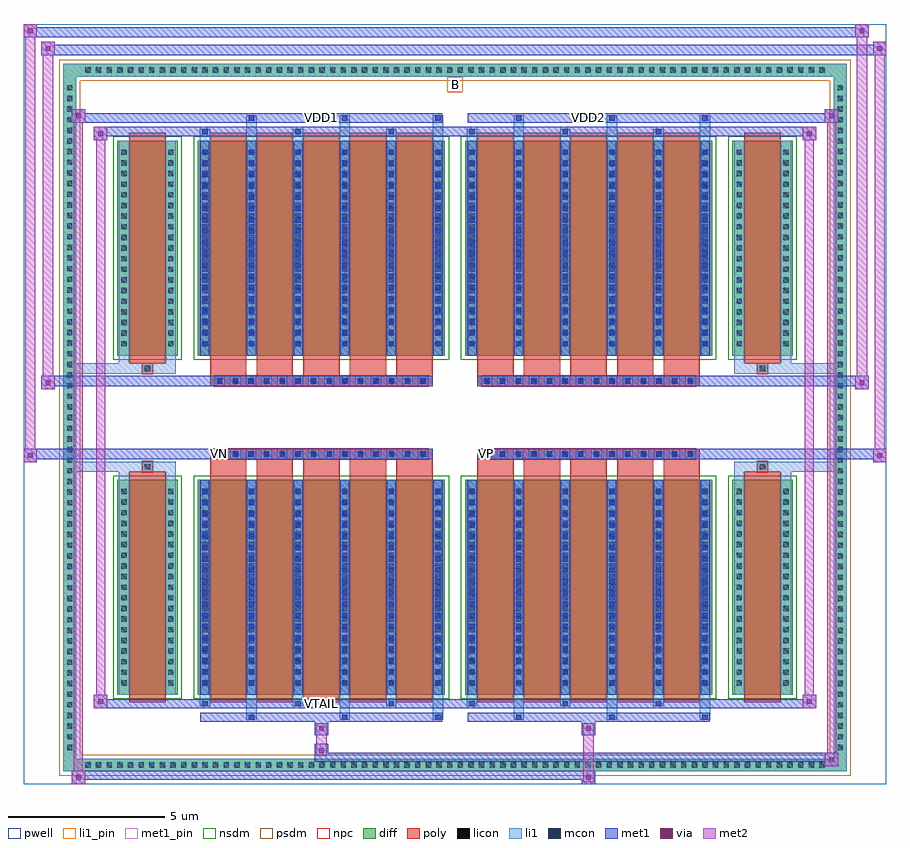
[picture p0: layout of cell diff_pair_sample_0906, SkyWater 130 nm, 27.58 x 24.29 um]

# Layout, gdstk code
import gdstk
lib = gdstk.Library(unit=1e-6, precision=5e-09)
def R(c, l, rs):  # rectangles x0, y0, x1, y1
    for r in rs: c.add(gdstk.rectangle(r[:2], r[2:], *l))
def A(c, l, x, y, w, h, nx, ny, dx, dy):  # array of equal rectangles
    R(c, l, [(x+i*dx, y+j*dy, x+i*dx+w, y+j*dy+h) for i in range(nx) for j in range(ny)])
def P(c, l, *ps):  # polygons
    for p in ps: c.add(gdstk.Polygon(p, *l))
pwell = (64, 44)
diff = (65, 20)
poly = (66, 20)
licon = (66, 44)
li1_pin = (67, 16)
li1 = (67, 20)
mcon = (67, 44)
met1_pin = (68, 16)
met1 = (68, 20)
via = (68, 44)
met2 = (69, 20)
nsdm = (93, 44)
psdm = (94, 20)
npc = (95, 20)

diff_pair_sample_0906 = lib.new_cell('diff_pair_sample_0906')
R(diff_pair_sample_0906, pwell, [(-13.79,-11.71,13.79,12.58), (-11.11,-9.9,-0.01,-0.8), (0.01,-9.9,11.11,-0.8), (-11.11,0.8,-0.01,9.9), (0.01,0.8,11.11,9.9)])
A(diff_pair_sample_0906, diff, -11.935, -11.31, 0.41, 0.41, 70, 2, 0.34, 22.21)
A(diff_pair_sample_0906, diff, -12.52, -10.745, 0.41, 0.41, 1, 63, 0, 0.34)
A(diff_pair_sample_0906, diff, 12.11, -10.745, 0.41, 0.41, 1, 63, 0, 0.34)
R(diff_pair_sample_0906, diff, [(-11.935,-11.31,11.935,-10.9), (-12.52,-10.745,-12.11,10.745), (12.11,-10.745,12.52,10.745), (-10.8,-8.855,-8.86,-1.985), (-8.22,-8.855,-0.32,-1.985), (0.32,-8.855,8.22,-1.985), (8.86,-8.855,10.8,-1.985), (-10.8,1.985,-8.86,8.855), (-8.22,1.985,-0.32,8.855), (0.32,1.985,8.22,8.855), (8.86,1.985,10.8,8.855), (-11.935,10.9,11.935,11.31)])
P(diff_pair_sample_0906, diff, [(12.52,11.31),(-12.52,11.31),(-12.52,-10.9),(-12.11,-10.9),(-12.11,10.9),(12.11,10.9),(12.11,-10.9),(-12.11,-10.9),(-12.52,-10.9),(-12.52,-11.31),(12.52,-11.31)])
A(diff_pair_sample_0906, poly, -7.83, -9.105, 1.16, 7.37, 5, 2, 1.49, 10.84)
A(diff_pair_sample_0906, poly, 0.71, -9.105, 1.16, 7.37, 5, 2, 1.49, 10.84)
A(diff_pair_sample_0906, poly, -7.83, -1.735, 1.16, 0.405, 5, 2, 1.49, 3.065)
A(diff_pair_sample_0906, poly, 0.71, -1.735, 1.16, 0.405, 5, 2, 1.49, 3.065)
A(diff_pair_sample_0906, poly, -7.685, -1.33, 0.33, 0.33, 14, 2, 0.5, 2.33)
A(diff_pair_sample_0906, poly, 0.855, -1.33, 0.33, 0.33, 14, 2, 0.5, 2.33)
R(diff_pair_sample_0906, poly, [(-10.41,-9.105,-9.25,-1.735), (9.25,-9.105,10.41,-1.735), (-9.995,-1.735,-9.665,-1.405), (-9.995,-1.735,-9.665,-1.405), (9.665,-1.735,9.995,-1.405), (9.665,-1.735,9.995,-1.405), (-7.83,-1.33,-0.71,-1), (0.71,-1.33,7.83,-1), (-7.83,1,-0.71,1.33), (0.71,1,7.83,1.33), (-9.995,1.405,-9.665,1.735), (-9.995,1.405,-9.665,1.735), (9.665,1.405,9.995,1.735), (9.665,1.405,9.995,1.735), (-10.41,1.735,-9.25,9.105), (9.25,1.735,10.41,9.105)])
A(diff_pair_sample_0906, licon, -11.815, -11.19, 0.17, 0.17, 70, 2, 0.34, 22.21)
A(diff_pair_sample_0906, licon, -12.4, -10.625, 0.17, 0.17, 1, 63, 0, 0.34)
A(diff_pair_sample_0906, licon, 12.23, -10.625, 0.17, 0.17, 1, 63, 0, 0.34)
A(diff_pair_sample_0906, licon, -10.66, -8.565, 0.17, 0.17, 1, 19, 0, 0.34)
A(diff_pair_sample_0906, licon, -9.17, -8.565, 0.17, 0.17, 1, 19, 0, 0.34)
A(diff_pair_sample_0906, licon, -8.08, -8.565, 0.17, 0.17, 6, 19, 1.49, 0.34)
A(diff_pair_sample_0906, licon, 0.46, -8.565, 0.17, 0.17, 6, 19, 1.49, 0.34)
A(diff_pair_sample_0906, licon, 9, -8.565, 0.17, 0.17, 1, 19, 0, 0.34)
A(diff_pair_sample_0906, licon, 10.49, -8.565, 0.17, 0.17, 1, 19, 0, 0.34)
A(diff_pair_sample_0906, licon, -7.605, -1.25, 0.17, 0.17, 14, 2, 0.5, 2.33)
A(diff_pair_sample_0906, licon, 0.935, -1.25, 0.17, 0.17, 14, 2, 0.5, 2.33)
A(diff_pair_sample_0906, licon, -10.66, 2.275, 0.17, 0.17, 1, 19, 0, 0.34)
A(diff_pair_sample_0906, licon, -9.17, 2.275, 0.17, 0.17, 1, 19, 0, 0.34)
A(diff_pair_sample_0906, licon, -8.08, 2.275, 0.17, 0.17, 6, 19, 1.49, 0.34)
A(diff_pair_sample_0906, licon, 0.46, 2.275, 0.17, 0.17, 6, 19, 1.49, 0.34)
A(diff_pair_sample_0906, licon, 9, 2.275, 0.17, 0.17, 1, 19, 0, 0.34)
A(diff_pair_sample_0906, licon, 10.49, 2.275, 0.17, 0.17, 1, 19, 0, 0.34)
R(diff_pair_sample_0906, licon, [(-9.915,-1.655,-9.745,-1.485), (9.745,-1.655,9.915,-1.485), (-9.915,1.485,-9.745,1.655), (9.745,1.485,9.915,1.655)])
R(diff_pair_sample_0906, li1_pin, [(-0.25,10.4,0.25,10.9)])
A(diff_pair_sample_0906, li1, -11.895, -11.27, 0.33, 0.33, 70, 2, 0.34, 22.21)
A(diff_pair_sample_0906, li1, -12.48, -10.705, 0.33, 0.33, 1, 63, 0, 0.34)
A(diff_pair_sample_0906, li1, 12.15, -10.705, 0.33, 0.33, 1, 63, 0, 0.34)
A(diff_pair_sample_0906, li1, -6.67, -9.66, 0.33, 0.805, 3, 2, 2.98, 18.515)
A(diff_pair_sample_0906, li1, -6.59, -9.66, 0.17, 0.17, 3, 2, 2.98, 19.15)
A(diff_pair_sample_0906, li1, 1.87, -9.66, 0.33, 0.805, 3, 2, 2.98, 18.515)
A(diff_pair_sample_0906, li1, 1.95, -9.66, 0.17, 0.17, 3, 2, 2.98, 19.15)
A(diff_pair_sample_0906, li1, -8.16, -9.23, 0.33, 0.375, 3, 2, 2.98, 18.085)
A(diff_pair_sample_0906, li1, -8.08, -9.23, 0.17, 0.17, 3, 2, 2.98, 18.29)
A(diff_pair_sample_0906, li1, 0.38, -9.23, 0.33, 0.375, 3, 2, 2.98, 18.085)
A(diff_pair_sample_0906, li1, 0.46, -9.23, 0.17, 0.17, 3, 2, 2.98, 18.29)
A(diff_pair_sample_0906, li1, -8.16, -8.855, 0.33, 6.87, 6, 2, 1.49, 10.84)
A(diff_pair_sample_0906, li1, 0.38, -8.855, 0.33, 6.87, 6, 2, 1.49, 10.84)
A(diff_pair_sample_0906, li1, -10.74, -8.645, 0.33, 0.33, 1, 19, 0, 0.34)
A(diff_pair_sample_0906, li1, -9.25, -8.645, 0.33, 0.33, 1, 19, 0, 0.34)
A(diff_pair_sample_0906, li1, -8.16, -8.645, 0.33, 0.33, 6, 19, 1.49, 0.34)
A(diff_pair_sample_0906, li1, 0.38, -8.645, 0.33, 0.33, 6, 19, 1.49, 0.34)
A(diff_pair_sample_0906, li1, 8.92, -8.645, 0.33, 0.33, 1, 19, 0, 0.34)
A(diff_pair_sample_0906, li1, 10.41, -8.645, 0.33, 0.33, 1, 19, 0, 0.34)
A(diff_pair_sample_0906, li1, -8.08, -8.565, 0.17, 0.17, 6, 18, 1.49, 0.36)
A(diff_pair_sample_0906, li1, -8.08, -8.565, 0.17, 6.29, 6, 2, 1.49, 10.84)
A(diff_pair_sample_0906, li1, 0.46, -8.565, 0.17, 0.17, 6, 18, 1.49, 0.36)
A(diff_pair_sample_0906, li1, 0.46, -8.565, 0.17, 6.29, 6, 2, 1.49, 10.84)
A(diff_pair_sample_0906, li1, -7.685, -1.33, 0.33, 0.33, 14, 2, 0.5, 2.33)
A(diff_pair_sample_0906, li1, 0.855, -1.33, 0.33, 0.33, 14, 2, 0.5, 2.33)
A(diff_pair_sample_0906, li1, -10.74, 2.195, 0.33, 0.33, 1, 19, 0, 0.34)
A(diff_pair_sample_0906, li1, -9.25, 2.195, 0.33, 0.33, 1, 19, 0, 0.34)
A(diff_pair_sample_0906, li1, -8.16, 2.195, 0.33, 0.33, 6, 19, 1.49, 0.34)
A(diff_pair_sample_0906, li1, 0.38, 2.195, 0.33, 0.33, 6, 19, 1.49, 0.34)
A(diff_pair_sample_0906, li1, 8.92, 2.195, 0.33, 0.33, 1, 19, 0, 0.34)
A(diff_pair_sample_0906, li1, 10.41, 2.195, 0.33, 0.33, 1, 19, 0, 0.34)
A(diff_pair_sample_0906, li1, -8.08, 2.275, 0.17, 0.17, 6, 18, 1.49, 0.36)
A(diff_pair_sample_0906, li1, 0.46, 2.275, 0.17, 0.17, 6, 18, 1.49, 0.36)
R(diff_pair_sample_0906, li1, [(-12.52,-11.31,-12.11,-10.9), (-12.52,-11.31,-12.11,-10.9), (-12.11,-11.31,12.11,-10.9), (12.11,-11.31,12.52,-10.9), (12.11,-11.31,12.52,-10.9), (-12.52,-10.9,-12.11,10.9), (12.11,-10.9,12.52,10.9), (-10.74,-8.855,-10.41,-1.985), (-9.25,-8.855,-8.92,-1.985), (8.92,-8.855,9.25,-1.985), (10.41,-8.855,10.74,-1.985), (-10.74,-1.985,-10.41,-1.405), (-9.25,-1.985,-8.92,-1.405), (8.92,-1.985,9.25,-1.405), (10.41,-1.985,10.74,-1.405), (-12.52,-1.735,-9.995,-1.405), (-10.74,-1.735,-9.995,-1.405), (-9.995,-1.735,-9.665,-1.405), (-9.665,-1.735,-8.92,-1.405), (8.92,-1.735,9.665,-1.405), (9.665,-1.735,9.995,-1.405), (9.665,-1.735,12.52,-1.405), (9.995,-1.735,10.74,-1.405), (-12.52,1.405,-9.995,1.735), (-10.74,1.405,-9.995,1.735), (-10.74,1.405,-10.41,1.985), (-9.995,1.405,-9.665,1.735), (-9.665,1.405,-8.92,1.735), (-9.25,1.405,-8.92,1.985), (8.92,1.405,9.665,1.735), (8.92,1.405,9.25,1.985), (9.665,1.405,9.995,1.735), (9.665,1.405,12.52,1.735), (9.995,1.405,10.74,1.735), (10.41,1.405,10.74,1.985), (-10.74,1.985,-10.41,8.855), (-9.25,1.985,-8.92,8.855), (8.92,1.985,9.25,8.855), (10.41,1.985,10.74,8.855), (-12.52,10.9,-12.11,11.31), (-12.52,10.9,-12.11,11.31), (-12.11,10.9,12.11,11.31), (12.11,10.9,12.52,11.31), (12.11,10.9,12.52,11.31)])
A(diff_pair_sample_0906, mcon, -6.59, -9.66, 0.17, 0.17, 3, 2, 2.98, 19.15)
A(diff_pair_sample_0906, mcon, 1.95, -9.66, 0.17, 0.17, 3, 2, 2.98, 19.15)
A(diff_pair_sample_0906, mcon, -8.08, -9.23, 0.17, 0.17, 3, 2, 2.98, 18.29)
A(diff_pair_sample_0906, mcon, 0.46, -9.23, 0.17, 0.17, 3, 2, 2.98, 18.29)
A(diff_pair_sample_0906, mcon, -8.08, -8.565, 0.17, 0.17, 6, 18, 1.49, 0.36)
A(diff_pair_sample_0906, mcon, 0.46, -8.565, 0.17, 0.17, 6, 18, 1.49, 0.36)
A(diff_pair_sample_0906, mcon, -7.605, -1.25, 0.17, 0.17, 14, 2, 0.5, 2.33)
A(diff_pair_sample_0906, mcon, 0.935, -1.25, 0.17, 0.17, 14, 2, 0.5, 2.33)
A(diff_pair_sample_0906, mcon, -8.08, 2.275, 0.17, 0.17, 6, 18, 1.49, 0.36)
A(diff_pair_sample_0906, mcon, 0.46, 2.275, 0.17, 0.17, 6, 18, 1.49, 0.36)
R(diff_pair_sample_0906, met1_pin, [(-4.405,-9.27,-4.135,-9), (-7.655,-1.29,-7.385,-1.02), (0.885,-1.29,1.155,-1.02), (-4.405,9.45,-4.135,9.72), (4.135,9.45,4.405,9.72)])
A(diff_pair_sample_0906, met1, -6.65, -9.72, 0.29, 0.29, 3, 2, 2.98, 19.15)
A(diff_pair_sample_0906, met1, 1.89, -9.72, 0.29, 0.29, 3, 2, 2.98, 19.15)
A(diff_pair_sample_0906, met1, -8.14, -9.29, 0.29, 0.29, 3, 2, 2.98, 18.29)
A(diff_pair_sample_0906, met1, 0.4, -9.29, 0.29, 0.29, 3, 2, 2.98, 18.29)
A(diff_pair_sample_0906, met1, -8.14, -8.855, 0.29, 6.87, 6, 2, 1.49, 10.84)
A(diff_pair_sample_0906, met1, 0.4, -8.855, 0.29, 6.87, 6, 2, 1.49, 10.84)
A(diff_pair_sample_0906, met1, -8.14, -8.625, 0.29, 0.29, 6, 18, 1.49, 0.36)
A(diff_pair_sample_0906, met1, 0.4, -8.625, 0.29, 0.29, 6, 18, 1.49, 0.36)
A(diff_pair_sample_0906, met1, -7.665, -1.31, 0.29, 0.29, 14, 2, 0.5, 2.33)
A(diff_pair_sample_0906, met1, 0.875, -1.31, 0.29, 0.29, 14, 2, 0.5, 2.33)
A(diff_pair_sample_0906, met1, -8.14, 2.215, 0.29, 0.29, 6, 18, 1.49, 0.36)
A(diff_pair_sample_0906, met1, 0.4, 2.215, 0.29, 0.29, 6, 18, 1.49, 0.36)
R(diff_pair_sample_0906, met1, [(-12.25,-11.71,-11.82,-11.28), (4.055,-11.71,4.485,-11.28), (-12.25,-11.57,4.485,-11.28), (11.82,-11.14,12.25,-10.71), (-4.485,-11,12.25,-10.71), (-4.485,-10.86,-4.055,-10.43), (-4.485,-10.15,-4.055,-9.72), (4.055,-10.15,4.485,-9.72), (-8.14,-9.72,-0.4,-9.43), (0.4,-9.72,8.14,-9.43), (-11.54,-9.29,-11.11,-8.86), (-11.54,-9.29,-8.14,-9), (-8.14,-9.29,-0.4,-9), (-0.4,-9.29,0.4,-9), (0.4,-9.29,8.14,-9), (8.14,-9.29,11.54,-9), (11.11,-9.29,11.54,-8.86), (-13.79,-1.43,-13.36,-1), (13.36,-1.43,13.79,-1), (-13.79,-1.33,-0.71,-1), (-7.83,-1.33,-0.71,-1), (0.71,-1.33,7.83,-1), (0.71,-1.33,13.79,-1), (-13.22,0.9,-12.79,1.33), (12.79,0.9,13.22,1.33), (-13.22,1,-7.83,1.33), (-7.83,1,-0.71,1.33), (0.71,1,7.83,1.33), (7.83,1,13.22,1.33), (-11.54,8.86,-11.11,9.29), (11.11,8.86,11.54,9.29), (-11.54,9,-8.14,9.29), (-8.14,9,-0.4,9.29), (-0.4,9,0.4,9.29), (0.4,9,8.14,9.29), (8.14,9,11.54,9.29), (-12.25,9.43,-11.82,9.86), (-12.25,9.43,-8.14,9.72), (-8.14,9.43,-0.4,9.72), (0.4,9.43,8.14,9.72), (8.14,9.43,12.25,9.72), (11.82,9.43,12.25,9.86), (-13.22,11.58,-12.79,12.01), (-13.22,11.58,-11.11,11.91), (-11.11,11.58,11.11,11.91), (11.11,11.58,13.79,11.91), (13.36,11.58,13.79,12.01), (-13.79,12.15,-13.36,12.58), (-13.79,12.15,-11.11,12.48), (-11.11,12.15,11.11,12.48), (11.11,12.15,13.22,12.48), (12.79,12.15,13.22,12.58)])
R(diff_pair_sample_0906, via, [(-12.11,-11.57,-11.96,-11.42), (4.195,-11.57,4.345,-11.42), (11.96,-11,12.11,-10.85), (-4.345,-10.72,-4.195,-10.57), (-4.345,-10.01,-4.195,-9.86), (4.195,-10.01,4.345,-9.86), (-11.4,-9.15,-11.25,-9), (11.25,-9.15,11.4,-9), (-13.65,-1.29,-13.5,-1.14), (13.5,-1.29,13.65,-1.14), (-13.08,1.04,-12.93,1.19), (12.93,1.04,13.08,1.19), (-11.4,9,-11.25,9.15), (11.25,9,11.4,9.15), (-12.11,9.57,-11.96,9.72), (11.96,9.57,12.11,9.72), (-13.08,11.72,-12.93,11.87), (13.5,11.72,13.65,11.87), (-13.65,12.29,-13.5,12.44), (12.93,12.29,13.08,12.44)])
R(diff_pair_sample_0906, met2, [(-12.25,-11.71,-11.82,-11.28), (-12.18,-11.71,-11.89,9.86), (-11.89,-11.71,-11.82,-11.28), (-12.2,-11.66,-11.87,-11.33), (4.105,-11.66,4.435,-11.33), (4.105,-11.33,4.435,-10.1), (11.82,-11.14,12.25,-10.71), (11.89,-11.14,12.18,9.86), (12.18,-11.14,12.25,-10.71), (11.87,-11.09,12.2,-10.76), (-4.435,-10.81,-4.105,-10.48), (-4.435,-10.48,-4.105,-10.1), (-4.435,-10.1,-4.105,-9.77), (4.105,-10.1,4.435,-9.77), (-11.54,-9.29,-11.11,-8.86), (-11.47,-9.29,-11.18,9.29), (-11.18,-9.29,-11.11,-8.86), (11.11,-9.29,11.54,-8.86), (11.18,-9.29,11.47,9.29), (11.47,-9.29,11.54,-8.86), (-11.49,-9.24,-11.16,-8.91), (11.16,-9.24,11.49,-8.91), (-13.79,-1.43,-13.36,-1), (-13.74,-1.43,-13.41,12.58), (-13.41,-1.43,-13.36,-1), (13.36,-1.43,13.79,-1), (13.41,-1.43,13.74,12.01), (13.74,-1.43,13.79,-1), (-13.74,-1.38,-13.41,-1.05), (13.41,-1.38,13.74,-1.05), (-13.22,0.9,-12.79,1.33), (-13.17,0.9,-12.84,12.01), (-12.84,0.9,-12.79,1.33), (12.79,0.9,13.22,1.33), (12.84,0.9,13.17,12.58), (13.17,0.9,13.22,1.33), (-13.17,0.95,-12.84,1.28), (12.84,0.95,13.17,1.28), (-11.54,8.86,-11.11,9.29), (-11.18,8.86,-11.11,9.29), (11.11,8.86,11.54,9.29), (11.47,8.86,11.54,9.29), (-11.49,8.91,-11.16,9.24), (11.16,8.91,11.49,9.24), (-12.25,9.43,-11.82,9.86), (-11.89,9.43,-11.82,9.86), (11.82,9.43,12.25,9.86), (12.18,9.43,12.25,9.86), (-12.2,9.48,-11.87,9.81), (11.87,9.48,12.2,9.81), (-13.22,11.58,-12.79,12.01), (-12.84,11.58,-12.79,12.01), (13.36,11.58,13.79,12.01), (13.74,11.58,13.79,12.01), (-13.17,11.63,-12.84,11.96), (13.41,11.63,13.74,11.96), (-13.79,12.15,-13.36,12.58), (-13.41,12.15,-13.36,12.58), (12.79,12.15,13.22,12.58), (13.17,12.15,13.22,12.58), (-13.74,12.2,-13.41,12.53), (12.84,12.2,13.17,12.53)])
R(diff_pair_sample_0906, nsdm, [(-10.93,-8.985,-8.73,-1.855), (-8.35,-8.985,-0.19,-1.855), (0.19,-8.985,8.35,-1.855), (8.73,-8.985,10.93,-1.855), (-10.93,1.855,-8.73,8.985), (-8.35,1.855,-0.19,8.985), (0.19,1.855,8.35,8.985), (8.73,1.855,10.93,8.985)])
P(diff_pair_sample_0906, psdm, [(12.65,11.44),(-12.65,11.44),(-12.65,-10.77),(-11.98,-10.77),(-11.98,10.77),(11.98,10.77),(11.98,-10.77),(-11.98,-10.77),(-12.65,-10.77),(-12.65,-11.44),(12.65,-11.44)])
A(diff_pair_sample_0906, npc, -7.705, -1.35, 0.37, 0.37, 14, 2, 0.5, 2.33)
A(diff_pair_sample_0906, npc, 0.835, -1.35, 0.37, 0.37, 14, 2, 0.5, 2.33)
R(diff_pair_sample_0906, npc, [(-10.015,-1.755,-9.645,-1.385), (9.645,-1.755,10.015,-1.385), (-7.705,-1.35,-6.835,-0.98), (-7.705,-1.35,-6.835,-0.98), (-7.205,-1.35,-6.335,-0.98), (-7.205,-1.35,-6.335,-0.98), (-6.705,-1.35,-5.835,-0.98), (-6.705,-1.35,-5.835,-0.98), (-6.205,-1.35,-5.335,-0.98), (-6.205,-1.35,-5.335,-0.98), (-5.705,-1.35,-4.835,-0.98), (-5.705,-1.35,-4.835,-0.98), (-5.205,-1.35,-4.335,-0.98), (-5.205,-1.35,-4.335,-0.98), (-4.705,-1.35,-3.835,-0.98), (-4.705,-1.35,-3.835,-0.98), (-4.205,-1.35,-3.335,-0.98), (-4.205,-1.35,-3.335,-0.98), (-3.705,-1.35,-2.835,-0.98), (-3.705,-1.35,-2.835,-0.98), (-3.205,-1.35,-2.335,-0.98), (-3.205,-1.35,-2.335,-0.98), (-2.705,-1.35,-1.835,-0.98), (-2.705,-1.35,-1.835,-0.98), (-2.205,-1.35,-1.335,-0.98), (-2.205,-1.35,-1.335,-0.98), (-1.705,-1.35,-0.835,-0.98), (-1.705,-1.35,-0.835,-0.98), (0.835,-1.35,1.705,-0.98), (0.835,-1.35,1.705,-0.98), (1.335,-1.35,2.205,-0.98), (1.335,-1.35,2.205,-0.98), (1.835,-1.35,2.705,-0.98), (1.835,-1.35,2.705,-0.98), (2.335,-1.35,3.205,-0.98), (2.335,-1.35,3.205,-0.98), (2.835,-1.35,3.705,-0.98), (2.835,-1.35,3.705,-0.98), (3.335,-1.35,4.205,-0.98), (3.335,-1.35,4.205,-0.98), (3.835,-1.35,4.705,-0.98), (3.835,-1.35,4.705,-0.98), (4.335,-1.35,5.205,-0.98), (4.335,-1.35,5.205,-0.98), (4.835,-1.35,5.705,-0.98), (4.835,-1.35,5.705,-0.98), (5.335,-1.35,6.205,-0.98), (5.335,-1.35,6.205,-0.98), (5.835,-1.35,6.705,-0.98), (5.835,-1.35,6.705,-0.98), (6.335,-1.35,7.205,-0.98), (6.335,-1.35,7.205,-0.98), (6.835,-1.35,7.705,-0.98), (6.835,-1.35,7.705,-0.98), (-7.705,0.98,-6.835,1.35), (-7.705,0.98,-6.835,1.35), (-7.205,0.98,-6.335,1.35), (-7.205,0.98,-6.335,1.35), (-6.705,0.98,-5.835,1.35), (-6.705,0.98,-5.835,1.35), (-6.205,0.98,-5.335,1.35), (-6.205,0.98,-5.335,1.35), (-5.705,0.98,-4.835,1.35), (-5.705,0.98,-4.835,1.35), (-5.205,0.98,-4.335,1.35), (-5.205,0.98,-4.335,1.35), (-4.705,0.98,-3.835,1.35), (-4.705,0.98,-3.835,1.35), (-4.205,0.98,-3.335,1.35), (-4.205,0.98,-3.335,1.35), (-3.705,0.98,-2.835,1.35), (-3.705,0.98,-2.835,1.35), (-3.205,0.98,-2.335,1.35), (-3.205,0.98,-2.335,1.35), (-2.705,0.98,-1.835,1.35), (-2.705,0.98,-1.835,1.35), (-2.205,0.98,-1.335,1.35), (-2.205,0.98,-1.335,1.35), (-1.705,0.98,-0.835,1.35), (-1.705,0.98,-0.835,1.35), (0.835,0.98,1.705,1.35), (0.835,0.98,1.705,1.35), (1.335,0.98,2.205,1.35), (1.335,0.98,2.205,1.35), (1.835,0.98,2.705,1.35), (1.835,0.98,2.705,1.35), (2.335,0.98,3.205,1.35), (2.335,0.98,3.205,1.35), (2.835,0.98,3.705,1.35), (2.835,0.98,3.705,1.35), (3.335,0.98,4.205,1.35), (3.335,0.98,4.205,1.35), (3.835,0.98,4.705,1.35), (3.835,0.98,4.705,1.35), (4.335,0.98,5.205,1.35), (4.335,0.98,5.205,1.35), (4.835,0.98,5.705,1.35), (4.835,0.98,5.705,1.35), (5.335,0.98,6.205,1.35), (5.335,0.98,6.205,1.35), (5.835,0.98,6.705,1.35), (5.835,0.98,6.705,1.35), (6.335,0.98,7.205,1.35), (6.335,0.98,7.205,1.35), (6.835,0.98,7.705,1.35), (6.835,0.98,7.705,1.35), (-10.015,1.385,-9.645,1.755), (9.645,1.385,10.015,1.755)])
diff_pair_sample_0906.add(gdstk.Label('VTAIL', (-4.27,-9.135), layer=68, texttype=5))
diff_pair_sample_0906.add(gdstk.Label('VN', (-7.52,-1.155), layer=68, texttype=5))
diff_pair_sample_0906.add(gdstk.Label('VP', (1.02,-1.155), layer=68, texttype=5))
diff_pair_sample_0906.add(gdstk.Label('B', (0,10.65), layer=67, texttype=5))
diff_pair_sample_0906.add(gdstk.Label('VDD2', (4.27,9.585), layer=68, texttype=5))
diff_pair_sample_0906.add(gdstk.Label('VDD1', (-4.27,9.585), layer=68, texttype=5))

lib.write_gds('diff_pair_sample_0906.gds')
